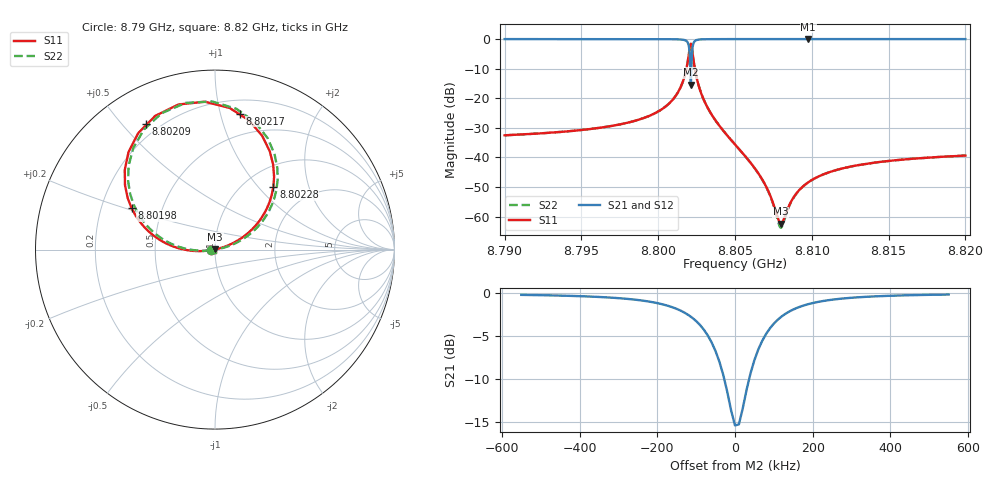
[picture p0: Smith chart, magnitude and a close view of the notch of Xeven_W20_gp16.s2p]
! Sonnet Data File
! From: emgraph Version : 16.52
! From Project: Qubit_Test_beforeopt
! Data is De-embedded
! Data File Written: 10/18/2017 16:57:22
!< HDATE 10/18/2017 09:03:38
!< MDATE 10/18/2017 09:03:38
!< PARAMS
!< Lj = 11.0
!< Gap = 16.0
!< Pwid = 2000.0
!< Airgap = 12.0
!< Width = 20.0
!< END PARAMS
# GHZ S MA R 51.80000
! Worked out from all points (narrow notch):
!   3001 points, 8.79 GHz to 8.82 GHz, reference 51.8 ohm
!   highest |S21| = 0.00 dB at 8.80977 GHz (marker M1); lowest = -15.4 dB at 8.80212 GHz (marker M2)
!   notch at M2: 15.4 dB deep, 93 kHz wide at half that depth
!   lowest |S11| = -62.5 dB at 8.80799 GHz (marker M3), VSWR 1.00, Z = 51.8 + j0.0761 ohm
!   |S11| at or under -10 dB: start of sweep to 8.801837 GHz; 8.802385 GHz to end of sweep
!   |S22| runs from -63.8 to -1.6 dB; largest |S21 - S12| = 0
!   S11 on the Smith chart (normalised r, x): 8.79 GHz: 0.95, -0.01; 8.80198 GHz: 0.33, +0.21; 8.80209 GHz: 0.15, +0.58; 8.80217 GHz: 0.31, +1.15; 8.80228 GHz: 1.34, +1.21; 8.82 GHz: 0.98, -0.00
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8.79  0.0236 -171.2  0.9997 -80.9  0.9997 -80.9  0.0236 -170.6
!< P1 F=8.79 Eeff=(6.4461688 -2.9978e-5) Z0=(50.9065254 1.15671e-4) R=0.0 C=0.0
!< P2 F=8.79 Eeff=(6.4461688 -2.9978e-5) Z0=(50.9065254 1.15671e-4) R=0.0 C=0.0
8.795  0.029 -171.3  0.9995 -81.2  0.9995 -81.2  0.02899 -171.3
8.79805  0.03877 -171.6  0.9991 -81.8  0.9991 -81.8  0.03877 -172.3
8.8  0.05969 -172.7  0.9978 -83.0  0.9978 -83.0  0.05968 -174.1
8.80133  0.1318 -177.3  0.9886 -87.2  0.9886 -87.2  0.1317 -179.4
8.80179  0.2784 172.5  0.946 -95.8  0.946 -95.8  0.2784 170.0
8.80198  0.5198 153.5  0.7923 -110.7  0.7923 -110.7  0.5196 150.9
8.80209  0.7989 118.8  0.3335 -124.5  0.3335 -124.5  0.7987 116.1
8.80212  0.8338 104.1  0.1704 -91.1  0.1704 -91.1  0.8336 101.3
8.80217  0.7704 79.5  0.4089 -34.2  0.4089 -34.2  0.7701 76.8
8.80228  0.4771 47.1  0.8228 -51.4  0.8228 -51.4  0.477 44.2
8.80251  0.2179 27.4  0.9648 -67.1  0.9648 -67.1  0.2178 24.3
8.80309  0.08028 18.2  0.9949 -75.0  0.9949 -75.0  0.08025 14.4
8.805  0.01654 15.8  0.9997 -78.7  0.9997 -78.7  0.01652 8.2
8.80684  0.003942 23.3  0.9999 -79.5  0.9999 -79.5  0.003914 0.1
8.80799  0.000753 102.7  0.9999 -79.7  0.9999 -79.7  0.0006479 -82.3
8.80882  0.002119 171.1  1 -79.8  1 -79.8  0.002092 -152.8
8.80977  0.003788 -179.7  1 -79.9  1 -79.9  0.003776 -161.1
8.81  0.004137 -178.7  1 -79.9  1 -79.9  0.004127 -162.0
8.81195  0.006464 -175.1  1 -80.1  1 -80.1  0.006459 -165.4
8.815  0.008702 -173.6  0.9999 -80.2  0.9999 -80.2  0.0087 -167.1
8.82  0.01072 -172.8  0.9999 -80.4  0.9999 -80.4  0.01072 -168.1
